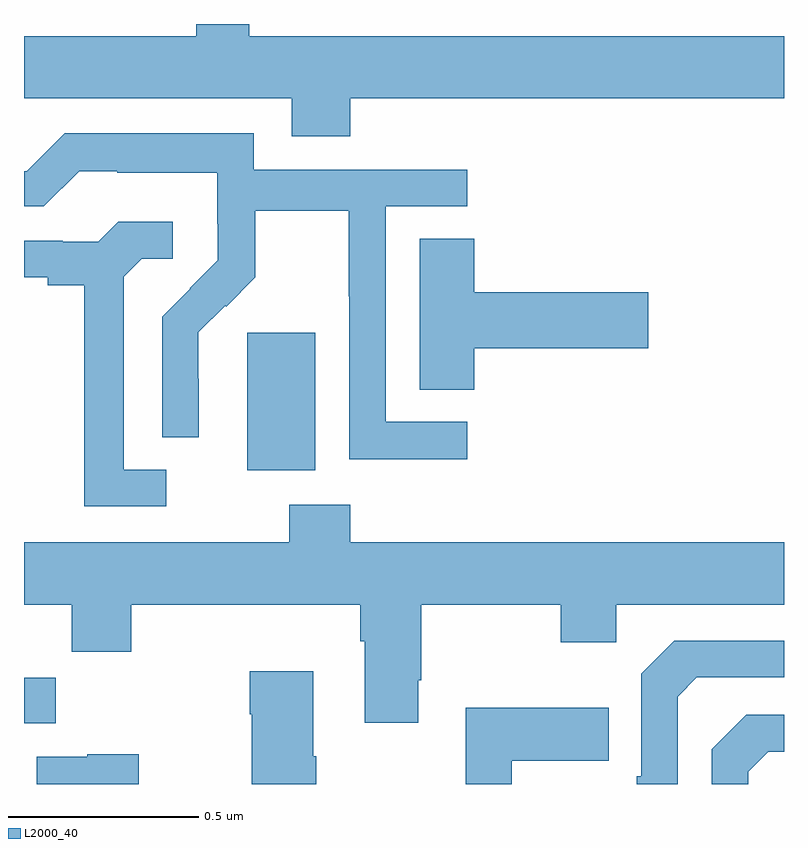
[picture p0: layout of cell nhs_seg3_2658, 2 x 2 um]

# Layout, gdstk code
import gdstk
lib = gdstk.Library(unit=1e-6, precision=1e-09)
def R(c, l, rs):  # rectangles x0, y0, x1, y1
    for r in rs: c.add(gdstk.rectangle(r[:2], r[2:], *l))
def P(c, l, *ps):  # polygons
    for p in ps: c.add(gdstk.Polygon(p, *l))
L2000_40 = (2000, 40)

nhs_seg3_2658 = lib.new_cell('nhs_seg3_2658')
R(nhs_seg3_2658, L2000_40, [(143,744.56,143.084,744.679), (143.588,745.226,143.767,745.587)])
P(nhs_seg3_2658, L2000_40, [(143.858,746.204),(145,746.204),(145,746.368),(143.593,746.368),(143.593,746.4),(143.453,746.4),(143.453,746.368),(143,746.368),(143,746.204),(143.705,746.204),(143.705,746.105),(143.858,746.105)],
  [(144.166,745.353),(143.952,745.353),(143.952,745.92),(144.166,745.92),(144.166,746.016),(143.604,746.016),(143.604,746.113),(143.107,746.113),(143.007,746.013),(143,746.013),(143,745.92),(143.052,745.92),(143.145,746.013),(143.245,746.013),(143.245,746.009),(143.508,746.009),(143.508,745.875),(143.51,745.875),(143.51,745.778),(143.436,745.704),(143.437,745.703),(143.364,745.63),(143.364,745.312),(143.46,745.312),(143.46,745.466),(143.459,745.466),(143.459,745.589),(143.529,745.659),(143.532,745.656),(143.609,745.733),(143.609,745.908),(143.854,745.908),(143.854,745.684),(143.856,745.684),(143.856,745.255),(144.166,745.255)],
  [(143.374,745.227),(143.263,745.227),(143.263,745.735),(143.31,745.782),(143.392,745.782),(143.392,745.879),(143.248,745.879),(143.196,745.827),(143.102,745.827),(143.102,745.83),(143,745.83),(143,745.734),(143.063,745.734),(143.063,745.712),(143.159,745.712),(143.159,745.131),(143.374,745.131)],
  [(144.185,745.547),(144.643,745.547),(144.643,745.694),(144.185,745.694),(144.185,745.835),(144.041,745.835),(144.041,745.438),(144.185,745.438)],
  [(144.037,744.673),(144.045,744.673),(144.045,744.872),(144.412,744.872),(144.412,744.773),(144.558,744.773),(144.558,744.872),(145,744.872),(145,745.036),(143.858,745.036),(143.858,745.135),(143.698,745.135),(143.698,745.036),(143,745.036),(143,744.872),(143.125,744.872),(143.125,744.748),(143.282,744.748),(143.282,744.872),(143.885,744.872),(143.885,744.776),(143.897,744.776),(143.897,744.561),(144.037,744.561)],
  [(144.72,744.63),(144.771,744.681),(145,744.681),(145,744.777),(144.711,744.777),(144.624,744.69),(144.624,744.421),(144.612,744.421),(144.612,744.4),(144.72,744.4)],
  [(143.769,744.473),(143.761,744.473),(143.761,744.697),(143.594,744.697),(143.594,744.584),(143.599,744.584),(143.599,744.4),(143.769,744.4)],
  [(144.283,744.461),(144.539,744.461),(144.539,744.601),(144.162,744.601),(144.162,744.4),(144.283,744.4)],
  [(144.906,744.432),(144.959,744.485),(145,744.485),(145,744.582),(144.9,744.582),(144.81,744.492),(144.81,744.4),(144.906,744.4)],
  [(143.302,744.478),(143.166,744.478),(143.166,744.472),(143.033,744.472),(143.033,744.4),(143.302,744.4)])

lib.write_gds('nhs_seg3_2658.gds')
